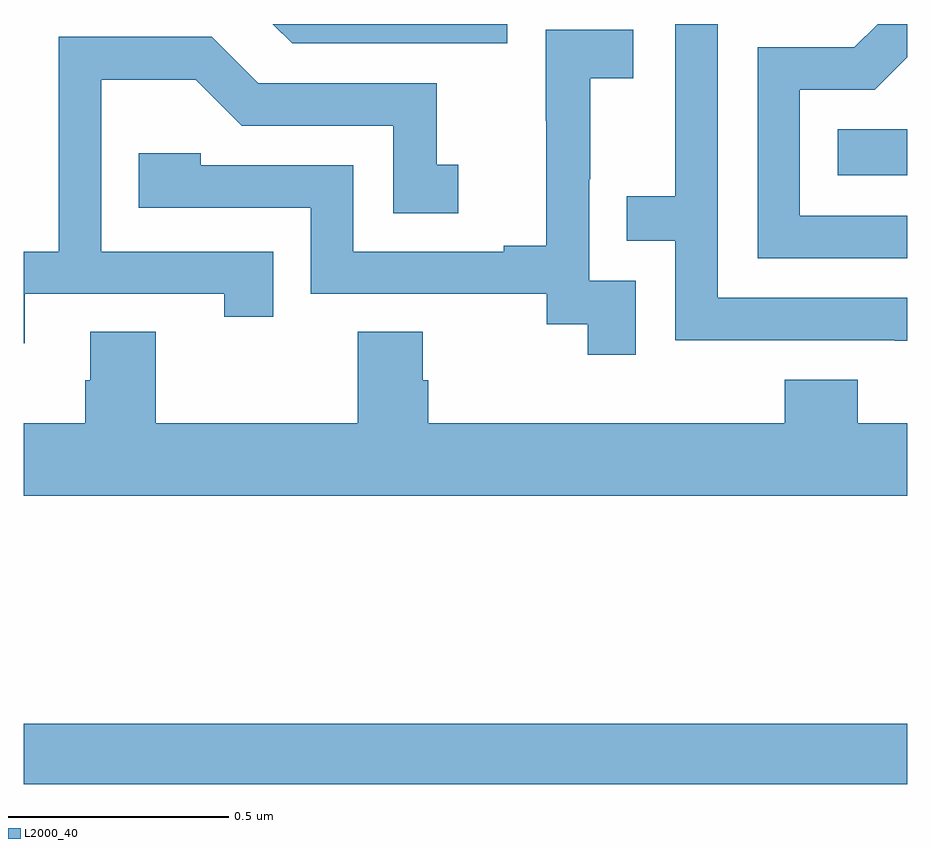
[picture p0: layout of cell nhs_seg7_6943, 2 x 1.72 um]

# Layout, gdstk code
import gdstk
lib = gdstk.Library(unit=1e-6, precision=1e-09)
def R(c, l, rs):  # rectangles x0, y0, x1, y1
    for r in rs: c.add(gdstk.rectangle(r[:2], r[2:], *l))
def P(c, l, *ps):  # polygons
    for p in ps: c.add(gdstk.Polygon(p, *l))
L2000_40 = (2000, 40)

nhs_seg7_6943 = lib.new_cell('nhs_seg7_6943')
R(nhs_seg7_6943, L2000_40, [(205,1017.28,207,1017.416), (206.842,1018.658,207,1018.762)])
P(nhs_seg7_6943, L2000_40, [(206.094,1019),(205.564,1019),(205.608,1018.956),(206.094,1018.956)],
  [(207,1018.38),(206.571,1018.38),(206.571,1019),(206.475,1019),(206.475,1018.61),(206.365,1018.61),(206.365,1018.509),(206.475,1018.509),(206.475,1018.284),(206.971,1018.284),(206.971,1018.283),(207,1018.283)],
  [(207,1018.566),(206.757,1018.566),(206.757,1018.851),(206.926,1018.851),(207,1018.925),(207,1019),(206.933,1019),(206.88,1018.947),(206.661,1018.947),(206.661,1018.47),(207,1018.47)],
  [(206.385,1018.419),(206.28,1018.419),(206.28,1018.649),(206.282,1018.649),(206.282,1018.877),(206.38,1018.877),(206.38,1018.987),(206.182,1018.987),(206.182,1018.781),(206.183,1018.781),(206.183,1018.498),(206.087,1018.498),(206.087,1018.485),(205.746,1018.485),(205.746,1018.68),(205.401,1018.68),(205.401,1018.707),(205.261,1018.707),(205.261,1018.584),(205.65,1018.584),(205.65,1018.389),(206.184,1018.389),(206.184,1018.321),(206.277,1018.321),(206.277,1018.251),(206.385,1018.251)],
  [(205.003,1018.389),(205.454,1018.389),(205.454,1018.338),(205.565,1018.338),(205.565,1018.485),(205.176,1018.485),(205.176,1018.874),(205.39,1018.874),(205.494,1018.77),(205.836,1018.77),(205.836,1018.572),(205.984,1018.572),(205.984,1018.681),(205.935,1018.681),(205.935,1018.866),(205.531,1018.866),(205.426,1018.971),(205.08,1018.971),(205.08,1018.485),(205,1018.485),(205,1018.278),(205.003,1018.278)],
  [(207,1018.096),(206.888,1018.096),(206.888,1018.195),(206.723,1018.195),(206.723,1018.096),(205.916,1018.096),(205.916,1018.194),(205.903,1018.194),(205.903,1018.304),(205.756,1018.304),(205.756,1018.096),(205.299,1018.096),(205.299,1018.304),(205.151,1018.304),(205.151,1018.194),(205.139,1018.194),(205.139,1018.096),(205,1018.096),(205,1017.932),(207,1017.932)])

lib.write_gds('nhs_seg7_6943.gds')
